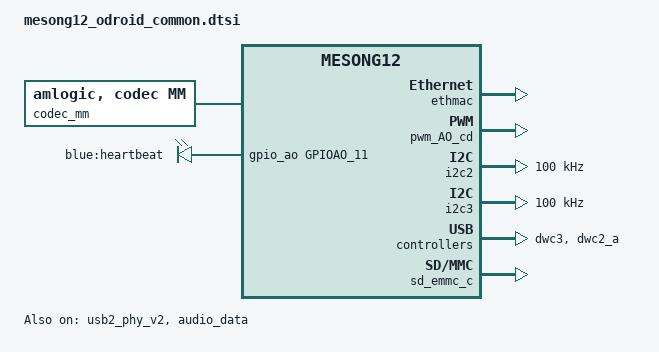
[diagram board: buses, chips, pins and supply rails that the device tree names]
/*
 * arch/arm64/boot/dts/amlogic/mesong12_odroid_common.dtsi
 *
 * Copyright (C) 2018 Hardkernel Co,. Ltd. All rights reserved.
 *
 * This program is free software; you can redistribute it and/or modify
 * it under the terms of the GNU General Public License as published by
 * the Free Software Foundation; either version 2 of the License, or
 * (at your option) any later version.
 *
 * This program is distributed in the hope that it will be useful, but WITHOUT
 * ANY WARRANTY; without even the implied warranty of MERCHANTABILITY or
 * FITNESS FOR A PARTICULAR PURPOSE.  See the GNU General Public License for
 * more details.
 *
 */

/{
	aliases {
		serial0 = &uart_AO;
		serial1 = &uart_A;
		serial2 = &uart_B;
		serial3 = &uart_C;
		serial4 = &uart_AO_B;
		i2c0 = &i2c2;
		i2c1 = &i2c3;
		i2c2 = &i2c0;
		i2c3 = &i2c1;
		i2c4 = &i2c_AO;
		tsensor0 = &p_tsensor;
		tsensor1 = &d_tsensor;
		spi0 = &spicc0;
		spi1 = &spicc1;
	};

	codec_mm {
		compatible = "amlogic, codec, mm";
		memory-region = <&codec_mm_cma &codec_mm_reserved>;
		dev_name = "codec_mm";
		status = "okay";
		clear-map;
	};

	ppmgr {
		compatible = "amlogic, ppmgr";
		memory-region = <&ppmgr_reserved>;
		dev_name = "ppmgr";
		status = "okay";
	};

	ionvideo {
		compatible = "amlogic, ionvideo";
		dev_name = "ionvideo";
		status = "okay";
	};

	leds {
		compatible = "gpio-leds";
		blueled {
			label = "blue:heartbeat";
			gpios = <&gpio_ao GPIOAO_11 GPIO_ACTIVE_HIGH>;
			linux,default-trigger = "heartbeat";
		};
	};

	gpio-reset {
		compatible = "linux,gpio-reset";
		usb_hub_en {
			gpios = <&gpio GPIOH_5 GPIO_ACTIVE_HIGH>;
			asserted-state = <0>;
			duration-ms = <100>;
		};
		usb_hub {
			gpios = <&gpio GPIOH_4 GPIO_ACTIVE_HIGH>;
			asserted-state = <0>;
			duration-ms = <100>;
		};
	};

	efuse: efuse{
		compatible = "amlogic, efuse";
		read_cmd = <0x82000030>;
		write_cmd = <0x82000031>;
		get_max_cmd = <0x82000033>;
		key = <&efusekey>;
		clocks = <&clkc CLKID_EFUSE>;
		clock-names = "efuse_clk";
		status = "okay";
	};

	efusekey:efusekey{
		keynum = <1>;
		key0 = <&key_0>;

		key_0: key_0 {
			keyname = "uuid";
			offset = <0>;
			size = <32>;
		};
	};//End efusekey

};

&ethmac {
	status = "okay";
	pinctrl-names = "external_eth_pins";
	pinctrl-0 = <&external_eth_pins>;
	mc_val = <0x1621>;

	internal_phy=<0>;

	/* reset */
	rst_pin-gpios = <&gpio GPIOZ_15 GPIO_ACTIVE_LOW>;
};

/*if you want to use vdin just modify status to "ok"*/
&vdin0 {
	memory-region = <&vdin0_cma_reserved>;
	status = "disable";
	/*vdin write mem color depth support:
	 *bit0:support 8bit
	 *bit1:support 9bit
	 *bit2:support 10bit
	 *bit3:support 12bit
	 *bit4:support yuv422 10bit full pack mode (from txl new add)
	 */
	tv_bit_mode = <0x15>;
};

&vdin1 {
	memory-region = <&vdin1_cma_reserved>;
	status = "disable";
	/*vdin write mem color depth support:
	 *bit0:support 8bit
	 *bit1:support 9bit
	 *bit2:support 10bit
	 *bit3:support 12bit
	 */
	tv_bit_mode = <1>;
};

&pwm_AO_cd {
	status = "okay";
};

&irblaster {
	status = "disabled";
};

&i2c2 {
	status = "okay";
	pinctrl-names = "default","gpio_periphs";
	pinctrl-0 = <&i2c2_master_pins1>;
	pinctrl-1 = <&i2c2_to_gpiox>;
	clock-frequency = <100000>;		/* default 100k */
};

&i2c3 {
	status = "okay";
	pinctrl-names = "default","gpio_periphs";
	pinctrl-0 = <&i2c3_master_pins2>;
	pinctrl-1 = <&i2c3_to_gpioa>;
	clock-frequency = <100000>;		/* default 100k */
};

&a_uart_pins {
	mux {
		groups = "uart_tx_a",
			"uart_rx_a";
		function = "uart_a";
	};
};

&usb2_phy_v2 {
	status = "okay";
	portnum = <2>;
};

&dwc3 {
	status = "okay";
};

&dwc2_a {
	status = "okay";
	/** 0: normal, 1: otg+dwc3 host only, 2: otg+dwc3 device only*/
	controller-type = <3>;
};

&pcie_A {
	reset-gpio = <&gpio GPIOX_7 GPIO_ACTIVE_HIGH>;
	status = "disabled";
};

&sd_emmc_c {
	status = "okay";
	mmc-ddr-1_8v;
	mmc-hs200-1_8v;
	emmc {
		caps = "MMC_CAP_8_BIT_DATA",
			 "MMC_CAP_MMC_HIGHSPEED",
			 "MMC_CAP_SD_HIGHSPEED",
			 "MMC_CAP_NONREMOVABLE",
			 "MMC_CAP_HW_RESET",
			 "MMC_CAP_ERASE",
			 "MMC_CAP_CMD23";
		caps2 = "MMC_CAP2_HS200_1_8V_SDR",
			"MMC_CAP2_BROKEN_VOLTAGE";
		f_min = <400000>;
		f_max = <200000000>;
		hw_reset = <&gpio BOOT_12 GPIO_ACTIVE_HIGH>;
	};
};

&audio_data {
	status = "okay";
};

&pinctrl_periphs {
	i2c2_master_pins1:i2c2_pins1 {
		mux {
			drive-strength = <3>;
		};
	};
	i2c2_to_gpiox:i2c2_gpiox {
		mux {
			groups = "GPIOX_17",
				"GPIOX_18";
			function = "gpio_periphs";
			drive-strength = <3>;
		};
	};
	i2c3_master_pins2:i2c3_pins2 {
		mux {
			drive-strength = <3>;
		};
	};
	i2c3_to_gpioa:i2c3_gpioa {
		mux {
			groups = "GPIOA_14",
				"GPIOA_15";
			function = "gpio_periphs";
			drive-strength = <3>;
		};
	};

	spicc0_pins_x: spicc0_pins_x {
		mux {
			drive-strength = <3>;
		};
	};
	spicc0_to_gpiox: spicc0_gpiox {
		mux {
			groups = "GPIOX_8",
				 "GPIOX_9",
				 //"GPIOX_10",
				 "GPIOX_11";
			function = "gpio_periphs";
		};
	};
}; /* end of pinctrl_periphs */

&gpio_intc {
	compatible = "amlogic,meson-gpio-intc-ext",
		   "amlogic,meson-g12a-gpio-intc";
};
